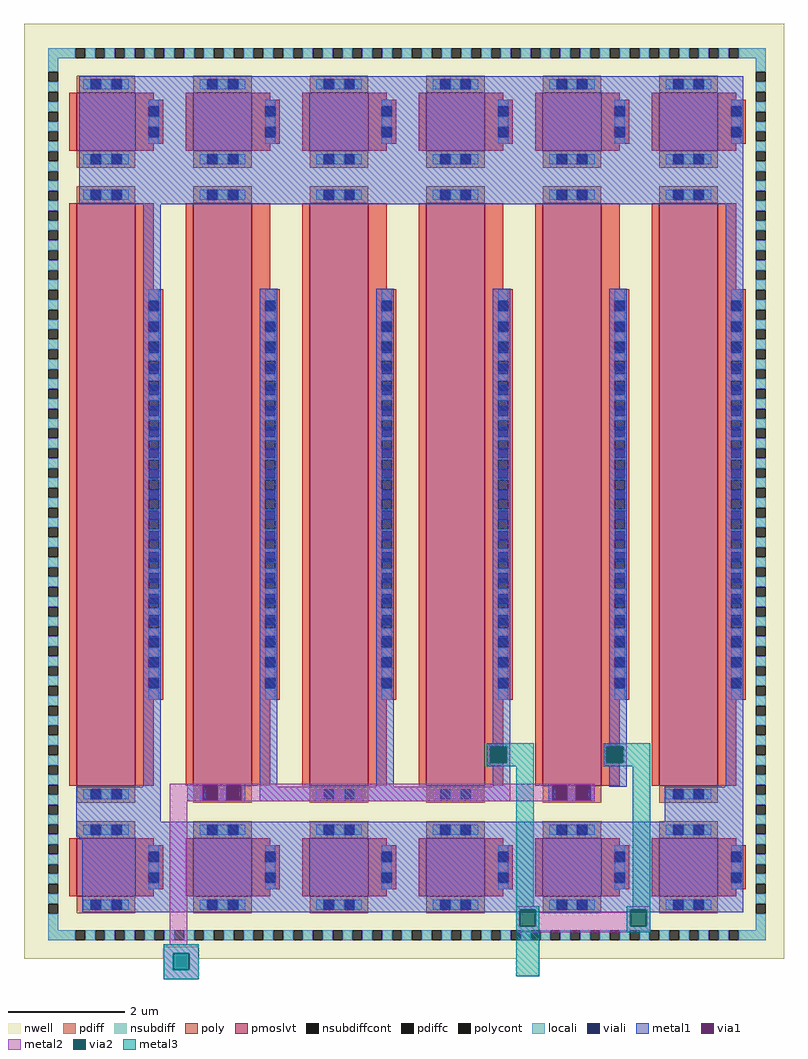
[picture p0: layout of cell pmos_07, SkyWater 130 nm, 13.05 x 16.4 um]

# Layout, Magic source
magic
tech sky130A
magscale 1 2
<< nwell >>
rect -80 -460 2530 2710
rect -80 -500 400 -460
rect 520 -500 2530 -460
rect 1610 -560 1690 -500
<< nsubdiff >>
rect 3 2593 96 2627
rect 130 2593 164 2627
rect 198 2593 232 2627
rect 266 2593 300 2627
rect 334 2593 368 2627
rect 402 2593 436 2627
rect 470 2593 504 2627
rect 538 2593 572 2627
rect 606 2593 640 2627
rect 674 2593 708 2627
rect 742 2593 776 2627
rect 810 2593 844 2627
rect 878 2593 912 2627
rect 946 2593 980 2627
rect 1014 2593 1048 2627
rect 1082 2593 1116 2627
rect 1150 2593 1184 2627
rect 1218 2593 1252 2627
rect 1286 2593 1320 2627
rect 1354 2593 1388 2627
rect 1422 2593 1456 2627
rect 1490 2593 1524 2627
rect 1558 2593 1592 2627
rect 1626 2593 1660 2627
rect 1694 2593 1728 2627
rect 1762 2593 1796 2627
rect 1830 2593 1864 2627
rect 1898 2593 1932 2627
rect 1966 2593 2000 2627
rect 2034 2593 2068 2627
rect 2102 2593 2136 2627
rect 2170 2593 2204 2627
rect 2238 2593 2272 2627
rect 2306 2593 2340 2627
rect 2374 2593 2467 2627
rect 3 2545 37 2593
rect 3 2477 37 2511
rect 3 2409 37 2443
rect 3 2341 37 2375
rect 3 2273 37 2307
rect 3 2205 37 2239
rect 3 2137 37 2171
rect 3 2069 37 2103
rect 3 2001 37 2035
rect 3 1933 37 1967
rect 3 1865 37 1899
rect 3 1797 37 1831
rect 3 1729 37 1763
rect 3 1661 37 1695
rect 3 1593 37 1627
rect 3 1525 37 1559
rect 3 1457 37 1491
rect 3 1389 37 1423
rect 3 1321 37 1355
rect 3 1253 37 1287
rect 3 1185 37 1219
rect 3 1117 37 1151
rect 3 1049 37 1083
rect 3 981 37 1015
rect 3 913 37 947
rect 3 845 37 879
rect 3 777 37 811
rect 3 709 37 743
rect 3 641 37 675
rect 3 573 37 607
rect 3 505 37 539
rect 3 437 37 471
rect 3 369 37 403
rect 3 301 37 335
rect 3 233 37 267
rect 3 165 37 199
rect 3 97 37 131
rect 3 29 37 63
rect 3 -39 37 -5
rect 3 -107 37 -73
rect 3 -175 37 -141
rect 3 -243 37 -209
rect 3 -311 37 -277
rect 3 -403 37 -345
rect 2433 2545 2467 2593
rect 2433 2477 2467 2511
rect 2433 2409 2467 2443
rect 2433 2341 2467 2375
rect 2433 2273 2467 2307
rect 2433 2205 2467 2239
rect 2433 2137 2467 2171
rect 2433 2069 2467 2103
rect 2433 2001 2467 2035
rect 2433 1933 2467 1967
rect 2433 1865 2467 1899
rect 2433 1797 2467 1831
rect 2433 1729 2467 1763
rect 2433 1661 2467 1695
rect 2433 1593 2467 1627
rect 2433 1525 2467 1559
rect 2433 1457 2467 1491
rect 2433 1389 2467 1423
rect 2433 1321 2467 1355
rect 2433 1253 2467 1287
rect 2433 1185 2467 1219
rect 2433 1117 2467 1151
rect 2433 1049 2467 1083
rect 2433 981 2467 1015
rect 2433 913 2467 947
rect 2433 845 2467 879
rect 2433 777 2467 811
rect 2433 709 2467 743
rect 2433 641 2467 675
rect 2433 573 2467 607
rect 2433 505 2467 539
rect 2433 437 2467 471
rect 2433 369 2467 403
rect 2433 301 2467 335
rect 2433 233 2467 267
rect 2433 165 2467 199
rect 2433 97 2467 131
rect 2433 29 2467 63
rect 2433 -39 2467 -5
rect 2433 -107 2467 -73
rect 2433 -175 2467 -141
rect 2433 -243 2467 -209
rect 2433 -311 2467 -277
rect 2433 -403 2467 -345
rect 3 -437 96 -403
rect 130 -437 164 -403
rect 198 -437 232 -403
rect 266 -437 300 -403
rect 334 -437 368 -403
rect 402 -437 436 -403
rect 470 -437 504 -403
rect 538 -437 572 -403
rect 606 -437 640 -403
rect 674 -437 708 -403
rect 742 -437 776 -403
rect 810 -437 844 -403
rect 878 -437 912 -403
rect 946 -437 980 -403
rect 1014 -437 1048 -403
rect 1082 -437 1116 -403
rect 1150 -437 1184 -403
rect 1218 -437 1252 -403
rect 1286 -437 1320 -403
rect 1354 -437 1388 -403
rect 1422 -437 1456 -403
rect 1490 -437 1524 -403
rect 1558 -437 1592 -403
rect 1626 -437 1660 -403
rect 1694 -437 1728 -403
rect 1762 -437 1796 -403
rect 1830 -437 1864 -403
rect 1898 -437 1932 -403
rect 1966 -437 2000 -403
rect 2034 -437 2068 -403
rect 2102 -437 2136 -403
rect 2170 -437 2204 -403
rect 2238 -437 2272 -403
rect 2306 -437 2340 -403
rect 2374 -437 2467 -403
<< nsubdiffcont >>
rect 96 2593 130 2627
rect 164 2593 198 2627
rect 232 2593 266 2627
rect 300 2593 334 2627
rect 368 2593 402 2627
rect 436 2593 470 2627
rect 504 2593 538 2627
rect 572 2593 606 2627
rect 640 2593 674 2627
rect 708 2593 742 2627
rect 776 2593 810 2627
rect 844 2593 878 2627
rect 912 2593 946 2627
rect 980 2593 1014 2627
rect 1048 2593 1082 2627
rect 1116 2593 1150 2627
rect 1184 2593 1218 2627
rect 1252 2593 1286 2627
rect 1320 2593 1354 2627
rect 1388 2593 1422 2627
rect 1456 2593 1490 2627
rect 1524 2593 1558 2627
rect 1592 2593 1626 2627
rect 1660 2593 1694 2627
rect 1728 2593 1762 2627
rect 1796 2593 1830 2627
rect 1864 2593 1898 2627
rect 1932 2593 1966 2627
rect 2000 2593 2034 2627
rect 2068 2593 2102 2627
rect 2136 2593 2170 2627
rect 2204 2593 2238 2627
rect 2272 2593 2306 2627
rect 2340 2593 2374 2627
rect 3 2511 37 2545
rect 3 2443 37 2477
rect 3 2375 37 2409
rect 3 2307 37 2341
rect 3 2239 37 2273
rect 3 2171 37 2205
rect 3 2103 37 2137
rect 3 2035 37 2069
rect 3 1967 37 2001
rect 3 1899 37 1933
rect 3 1831 37 1865
rect 3 1763 37 1797
rect 3 1695 37 1729
rect 3 1627 37 1661
rect 3 1559 37 1593
rect 3 1491 37 1525
rect 3 1423 37 1457
rect 3 1355 37 1389
rect 3 1287 37 1321
rect 3 1219 37 1253
rect 3 1151 37 1185
rect 3 1083 37 1117
rect 3 1015 37 1049
rect 3 947 37 981
rect 3 879 37 913
rect 3 811 37 845
rect 3 743 37 777
rect 3 675 37 709
rect 3 607 37 641
rect 3 539 37 573
rect 3 471 37 505
rect 3 403 37 437
rect 3 335 37 369
rect 3 267 37 301
rect 3 199 37 233
rect 3 131 37 165
rect 3 63 37 97
rect 3 -5 37 29
rect 3 -73 37 -39
rect 3 -141 37 -107
rect 3 -209 37 -175
rect 3 -277 37 -243
rect 3 -345 37 -311
rect 2433 2511 2467 2545
rect 2433 2443 2467 2477
rect 2433 2375 2467 2409
rect 2433 2307 2467 2341
rect 2433 2239 2467 2273
rect 2433 2171 2467 2205
rect 2433 2103 2467 2137
rect 2433 2035 2467 2069
rect 2433 1967 2467 2001
rect 2433 1899 2467 1933
rect 2433 1831 2467 1865
rect 2433 1763 2467 1797
rect 2433 1695 2467 1729
rect 2433 1627 2467 1661
rect 2433 1559 2467 1593
rect 2433 1491 2467 1525
rect 2433 1423 2467 1457
rect 2433 1355 2467 1389
rect 2433 1287 2467 1321
rect 2433 1219 2467 1253
rect 2433 1151 2467 1185
rect 2433 1083 2467 1117
rect 2433 1015 2467 1049
rect 2433 947 2467 981
rect 2433 879 2467 913
rect 2433 811 2467 845
rect 2433 743 2467 777
rect 2433 675 2467 709
rect 2433 607 2467 641
rect 2433 539 2467 573
rect 2433 471 2467 505
rect 2433 403 2467 437
rect 2433 335 2467 369
rect 2433 267 2467 301
rect 2433 199 2467 233
rect 2433 131 2467 165
rect 2433 63 2467 97
rect 2433 -5 2467 29
rect 2433 -73 2467 -39
rect 2433 -141 2467 -107
rect 2433 -209 2467 -175
rect 2433 -277 2467 -243
rect 2433 -345 2467 -311
rect 96 -437 130 -403
rect 164 -437 198 -403
rect 232 -437 266 -403
rect 300 -437 334 -403
rect 368 -437 402 -403
rect 436 -437 470 -403
rect 504 -437 538 -403
rect 572 -437 606 -403
rect 640 -437 674 -403
rect 708 -437 742 -403
rect 776 -437 810 -403
rect 844 -437 878 -403
rect 912 -437 946 -403
rect 980 -437 1014 -403
rect 1048 -437 1082 -403
rect 1116 -437 1150 -403
rect 1184 -437 1218 -403
rect 1252 -437 1286 -403
rect 1320 -437 1354 -403
rect 1388 -437 1422 -403
rect 1456 -437 1490 -403
rect 1524 -437 1558 -403
rect 1592 -437 1626 -403
rect 1660 -437 1694 -403
rect 1728 -437 1762 -403
rect 1796 -437 1830 -403
rect 1864 -437 1898 -403
rect 1932 -437 1966 -403
rect 2000 -437 2034 -403
rect 2068 -437 2102 -403
rect 2136 -437 2170 -403
rect 2204 -437 2238 -403
rect 2272 -437 2306 -403
rect 2340 -437 2374 -403
<< locali >>
rect 3 2593 96 2627
rect 130 2593 164 2627
rect 198 2593 232 2627
rect 266 2593 300 2627
rect 334 2593 368 2627
rect 402 2593 436 2627
rect 470 2593 504 2627
rect 538 2593 572 2627
rect 606 2593 640 2627
rect 674 2593 708 2627
rect 742 2593 776 2627
rect 810 2593 844 2627
rect 878 2593 912 2627
rect 946 2593 980 2627
rect 1014 2593 1048 2627
rect 1082 2593 1116 2627
rect 1150 2593 1184 2627
rect 1218 2593 1252 2627
rect 1286 2593 1320 2627
rect 1354 2593 1388 2627
rect 1422 2593 1456 2627
rect 1490 2593 1524 2627
rect 1558 2593 1592 2627
rect 1626 2593 1660 2627
rect 1694 2593 1728 2627
rect 1762 2593 1796 2627
rect 1830 2593 1864 2627
rect 1898 2593 1932 2627
rect 1966 2593 2000 2627
rect 2034 2593 2068 2627
rect 2102 2593 2136 2627
rect 2170 2593 2204 2627
rect 2238 2593 2272 2627
rect 2306 2593 2340 2627
rect 2374 2593 2467 2627
rect 3 2545 37 2593
rect 3 2477 37 2511
rect 3 2409 37 2443
rect 3 2341 37 2375
rect 3 2273 37 2307
rect 3 2205 37 2239
rect 3 2137 37 2171
rect 3 2069 37 2103
rect 3 2001 37 2035
rect 3 1933 37 1967
rect 3 1865 37 1899
rect 3 1797 37 1831
rect 3 1729 37 1763
rect 3 1661 37 1695
rect 3 1593 37 1627
rect 3 1525 37 1559
rect 3 1457 37 1491
rect 3 1389 37 1423
rect 3 1321 37 1355
rect 3 1253 37 1287
rect 3 1185 37 1219
rect 3 1117 37 1151
rect 3 1049 37 1083
rect 3 981 37 1015
rect 3 913 37 947
rect 3 845 37 879
rect 3 777 37 811
rect 3 709 37 743
rect 3 641 37 675
rect 3 573 37 607
rect 3 505 37 539
rect 3 437 37 471
rect 3 369 37 403
rect 3 301 37 335
rect 3 233 37 267
rect 3 165 37 199
rect 3 97 37 131
rect 3 29 37 63
rect 3 -39 37 -5
rect 3 -107 37 -73
rect 3 -175 37 -141
rect 3 -243 37 -209
rect 3 -311 37 -277
rect 3 -403 37 -345
rect 2433 2545 2467 2593
rect 2433 2477 2467 2511
rect 2433 2409 2467 2443
rect 2433 2341 2467 2375
rect 2433 2273 2467 2307
rect 2433 2205 2467 2239
rect 2433 2137 2467 2171
rect 2433 2069 2467 2103
rect 2433 2001 2467 2035
rect 2433 1933 2467 1967
rect 2433 1865 2467 1899
rect 2433 1797 2467 1831
rect 2433 1729 2467 1763
rect 2433 1661 2467 1695
rect 2433 1593 2467 1627
rect 2433 1525 2467 1559
rect 2433 1457 2467 1491
rect 2433 1389 2467 1423
rect 2433 1321 2467 1355
rect 2433 1253 2467 1287
rect 2433 1185 2467 1219
rect 2433 1117 2467 1151
rect 2433 1049 2467 1083
rect 2433 981 2467 1015
rect 2433 913 2467 947
rect 2433 845 2467 879
rect 2433 777 2467 811
rect 2433 709 2467 743
rect 2433 641 2467 675
rect 2433 573 2467 607
rect 2433 505 2467 539
rect 2433 437 2467 471
rect 2433 369 2467 403
rect 2433 301 2467 335
rect 2433 233 2467 267
rect 2433 165 2467 199
rect 2433 97 2467 131
rect 2433 29 2467 63
rect 2433 -39 2467 -5
rect 2433 -107 2467 -73
rect 2433 -175 2467 -141
rect 2433 -243 2467 -209
rect 2433 -311 2467 -277
rect 2433 -403 2467 -345
rect 3 -437 96 -403
rect 130 -437 164 -403
rect 198 -437 232 -403
rect 266 -437 300 -403
rect 334 -437 368 -403
rect 402 -437 436 -403
rect 470 -437 504 -403
rect 538 -437 572 -403
rect 606 -437 640 -403
rect 674 -437 708 -403
rect 742 -437 776 -403
rect 810 -437 844 -403
rect 878 -437 912 -403
rect 946 -437 980 -403
rect 1014 -437 1048 -403
rect 1082 -437 1116 -403
rect 1150 -437 1184 -403
rect 1218 -437 1252 -403
rect 1286 -437 1320 -403
rect 1354 -437 1388 -403
rect 1422 -437 1456 -403
rect 1490 -437 1524 -403
rect 1558 -437 1592 -403
rect 1626 -437 1660 -403
rect 1694 -437 1728 -403
rect 1762 -437 1796 -403
rect 1830 -437 1864 -403
rect 1898 -437 1932 -403
rect 1966 -437 2000 -403
rect 2034 -437 2068 -403
rect 2102 -437 2136 -403
rect 2170 -437 2204 -403
rect 2238 -437 2272 -403
rect 2306 -437 2340 -403
rect 2374 -437 2467 -403
<< metal1 >>
rect 110 2090 2390 2530
rect 330 90 390 2090
rect 100 -30 390 90
rect 480 96 680 100
rect 480 44 534 96
rect 586 44 614 96
rect 666 44 680 96
rect 480 40 680 44
rect 730 90 790 1800
rect 1130 90 1190 1800
rect 1530 240 1590 1800
rect 1930 240 1990 1800
rect 1510 226 1590 240
rect 1510 174 1524 226
rect 1576 174 1590 226
rect 1510 160 1590 174
rect 1910 226 1990 240
rect 1910 174 1924 226
rect 1976 174 1990 226
rect 1910 160 1990 174
rect 1530 90 1590 160
rect 730 40 1590 90
rect 1720 96 1880 100
rect 1720 44 1734 96
rect 1786 44 1814 96
rect 1866 44 1880 96
rect 1930 90 1990 160
rect 2330 90 2390 2090
rect 1720 40 1880 44
rect 2120 -30 2390 90
rect 100 -80 2390 -30
rect 110 -90 2390 -80
rect 120 -340 2390 -90
<< via1 >>
rect 534 44 586 96
rect 614 44 666 96
rect 1524 174 1576 226
rect 1924 174 1976 226
rect 1734 44 1786 96
rect 1814 44 1866 96
<< metal2 >>
rect 1510 228 1590 240
rect 1510 172 1522 228
rect 1578 172 1590 228
rect 1510 160 1590 172
rect 1910 228 1990 240
rect 1910 172 1922 228
rect 1978 172 1990 228
rect 1910 160 1990 172
rect 420 96 1880 100
rect 420 44 534 96
rect 586 44 614 96
rect 666 44 1734 96
rect 1786 44 1814 96
rect 1866 44 1880 96
rect 420 40 1880 44
rect 420 -450 480 40
rect 1610 -332 1690 -320
rect 1610 -388 1622 -332
rect 1678 -340 1690 -332
rect 1990 -332 2070 -320
rect 1990 -340 2002 -332
rect 1678 -388 2002 -340
rect 2058 -388 2070 -332
rect 1610 -410 2070 -388
rect 400 -482 520 -450
rect 400 -538 432 -482
rect 488 -538 520 -482
rect 400 -570 520 -538
<< via2 >>
rect 1522 226 1578 228
rect 1522 174 1524 226
rect 1524 174 1576 226
rect 1576 174 1578 226
rect 1522 172 1578 174
rect 1922 226 1978 228
rect 1922 174 1924 226
rect 1924 174 1976 226
rect 1976 174 1978 226
rect 1922 172 1978 174
rect 1622 -388 1678 -332
rect 2002 -388 2058 -332
rect 432 -538 488 -482
<< metal3 >>
rect 1510 228 1670 240
rect 1510 172 1522 228
rect 1578 172 1670 228
rect 1510 160 1670 172
rect 1910 228 2070 240
rect 1910 172 1922 228
rect 1978 172 2070 228
rect 1910 160 2070 172
rect 1610 -320 1670 160
rect 2010 -320 2070 160
rect 1610 -332 1690 -320
rect 1610 -388 1622 -332
rect 1678 -388 1690 -332
rect 400 -482 520 -450
rect 400 -538 432 -482
rect 488 -538 520 -482
rect 400 -570 520 -538
rect 1610 -560 1690 -388
rect 1990 -332 2070 -320
rect 1990 -388 2002 -332
rect 2058 -388 2070 -332
rect 1990 -410 2070 -388
use sky130_fd_pr__pfet_01v8_lvt_76U4T2  sky130_fd_pr__pfet_01v8_lvt_76U4T2_0
transform 0 1 2238 -1 0 1094
box -1094 -198 1094 164
use sky130_fd_pr__pfet_01v8_lvt_76U4T2  sky130_fd_pr__pfet_01v8_lvt_76U4T2_1
transform 0 1 1838 -1 0 1094
box -1094 -198 1094 164
use sky130_fd_pr__pfet_01v8_lvt_76U4T2  sky130_fd_pr__pfet_01v8_lvt_76U4T2_2
transform 0 1 638 -1 0 1094
box -1094 -198 1094 164
use sky130_fd_pr__pfet_01v8_lvt_76U4T2  sky130_fd_pr__pfet_01v8_lvt_76U4T2_4
transform 0 1 1038 -1 0 1094
box -1094 -198 1094 164
use sky130_fd_pr__pfet_01v8_lvt_76U4T2  sky130_fd_pr__pfet_01v8_lvt_76U4T2_5
transform 0 1 1438 -1 0 1094
box -1094 -198 1094 164
use sky130_fd_pr__pfet_01v8_lvt_76U4T2  sky130_fd_pr__pfet_01v8_lvt_76U4T2_6
transform 0 1 238 -1 0 1094
box -1094 -198 1094 164
use sky130_fd_pr__pfet_01v8_lvt_KVZWZ9  sky130_fd_pr__pfet_01v8_lvt_KVZWZ9_0
transform 0 1 1438 -1 0 -186
box -194 -198 194 164
use sky130_fd_pr__pfet_01v8_lvt_KVZWZ9  sky130_fd_pr__pfet_01v8_lvt_KVZWZ9_1
transform 0 1 1038 -1 0 -186
box -194 -198 194 164
use sky130_fd_pr__pfet_01v8_lvt_KVZWZ9  sky130_fd_pr__pfet_01v8_lvt_KVZWZ9_2
transform 0 1 638 -1 0 -186
box -194 -198 194 164
use sky130_fd_pr__pfet_01v8_lvt_KVZWZ9  sky130_fd_pr__pfet_01v8_lvt_KVZWZ9_3
transform 0 1 238 -1 0 -186
box -194 -198 194 164
use sky130_fd_pr__pfet_01v8_lvt_KVZWZ9  sky130_fd_pr__pfet_01v8_lvt_KVZWZ9_4
transform 0 1 1838 -1 0 -186
box -194 -198 194 164
use sky130_fd_pr__pfet_01v8_lvt_KVZWZ9  sky130_fd_pr__pfet_01v8_lvt_KVZWZ9_5
transform 0 1 2238 -1 0 -186
box -194 -198 194 164
use sky130_fd_pr__pfet_01v8_lvt_KVZWZ9  sky130_fd_pr__pfet_01v8_lvt_KVZWZ9_6
transform 0 1 238 -1 0 2374
box -194 -198 194 164
use sky130_fd_pr__pfet_01v8_lvt_KVZWZ9  sky130_fd_pr__pfet_01v8_lvt_KVZWZ9_7
transform 0 1 638 -1 0 2374
box -194 -198 194 164
use sky130_fd_pr__pfet_01v8_lvt_KVZWZ9  sky130_fd_pr__pfet_01v8_lvt_KVZWZ9_8
transform 0 1 1038 -1 0 2374
box -194 -198 194 164
use sky130_fd_pr__pfet_01v8_lvt_KVZWZ9  sky130_fd_pr__pfet_01v8_lvt_KVZWZ9_9
transform 0 1 1438 -1 0 2374
box -194 -198 194 164
use sky130_fd_pr__pfet_01v8_lvt_KVZWZ9  sky130_fd_pr__pfet_01v8_lvt_KVZWZ9_10
transform 0 1 1838 -1 0 2374
box -194 -198 194 164
use sky130_fd_pr__pfet_01v8_lvt_KVZWZ9  sky130_fd_pr__pfet_01v8_lvt_KVZWZ9_11
transform 0 1 2238 -1 0 2374
box -194 -198 194 164
<< end >>

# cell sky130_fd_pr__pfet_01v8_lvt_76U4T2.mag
magic
tech sky130A
magscale 1 2
<< nwell >>
rect -1094 -198 1094 164
<< pmoslvt >>
rect -1000 -136 1000 64
<< pdiff >>
rect -1058 15 -1000 64
rect -1058 -19 -1046 15
rect -1012 -19 -1000 15
rect -1058 -53 -1000 -19
rect -1058 -87 -1046 -53
rect -1012 -87 -1000 -53
rect -1058 -136 -1000 -87
rect 1000 15 1058 64
rect 1000 -19 1012 15
rect 1046 -19 1058 15
rect 1000 -53 1058 -19
rect 1000 -87 1012 -53
rect 1046 -87 1058 -53
rect 1000 -136 1058 -87
<< pdiffc >>
rect -1046 -19 -1012 15
rect -1046 -87 -1012 -53
rect 1012 -19 1046 15
rect 1012 -87 1046 -53
<< poly >>
rect -705 145 705 161
rect -705 128 -663 145
rect -1000 111 -663 128
rect -629 111 -595 145
rect -561 111 -527 145
rect -493 111 -459 145
rect -425 111 -391 145
rect -357 111 -323 145
rect -289 111 -255 145
rect -221 111 -187 145
rect -153 111 -119 145
rect -85 111 -51 145
rect -17 111 17 145
rect 51 111 85 145
rect 119 111 153 145
rect 187 111 221 145
rect 255 111 289 145
rect 323 111 357 145
rect 391 111 425 145
rect 459 111 493 145
rect 527 111 561 145
rect 595 111 629 145
rect 663 128 705 145
rect 663 111 1000 128
rect -1000 64 1000 111
rect -1000 -162 1000 -136
<< polycont >>
rect -663 111 -629 145
rect -595 111 -561 145
rect -527 111 -493 145
rect -459 111 -425 145
rect -391 111 -357 145
rect -323 111 -289 145
rect -255 111 -221 145
rect -187 111 -153 145
rect -119 111 -85 145
rect -51 111 -17 145
rect 17 111 51 145
rect 85 111 119 145
rect 153 111 187 145
rect 221 111 255 145
rect 289 111 323 145
rect 357 111 391 145
rect 425 111 459 145
rect 493 111 527 145
rect 561 111 595 145
rect 629 111 663 145
<< locali >>
rect -705 111 -665 145
rect -629 111 -595 145
rect -559 111 -527 145
rect -487 111 -459 145
rect -415 111 -391 145
rect -343 111 -323 145
rect -271 111 -255 145
rect -199 111 -187 145
rect -127 111 -119 145
rect -55 111 -51 145
rect 51 111 55 145
rect 119 111 127 145
rect 187 111 199 145
rect 255 111 271 145
rect 323 111 343 145
rect 391 111 415 145
rect 459 111 487 145
rect 527 111 559 145
rect 595 111 629 145
rect 665 111 705 145
rect -1046 17 -1012 42
rect -1046 -53 -1012 -19
rect -1046 -114 -1012 -89
rect 1012 17 1046 42
rect 1012 -53 1046 -19
rect 1012 -114 1046 -89
<< viali >>
rect -665 111 -663 145
rect -663 111 -631 145
rect -593 111 -561 145
rect -561 111 -559 145
rect -521 111 -493 145
rect -493 111 -487 145
rect -449 111 -425 145
rect -425 111 -415 145
rect -377 111 -357 145
rect -357 111 -343 145
rect -305 111 -289 145
rect -289 111 -271 145
rect -233 111 -221 145
rect -221 111 -199 145
rect -161 111 -153 145
rect -153 111 -127 145
rect -89 111 -85 145
rect -85 111 -55 145
rect -17 111 17 145
rect 55 111 85 145
rect 85 111 89 145
rect 127 111 153 145
rect 153 111 161 145
rect 199 111 221 145
rect 221 111 233 145
rect 271 111 289 145
rect 289 111 305 145
rect 343 111 357 145
rect 357 111 377 145
rect 415 111 425 145
rect 425 111 449 145
rect 487 111 493 145
rect 493 111 521 145
rect 559 111 561 145
rect 561 111 593 145
rect 631 111 663 145
rect 663 111 665 145
rect -1046 15 -1012 17
rect -1046 -17 -1012 15
rect -1046 -87 -1012 -55
rect -1046 -89 -1012 -87
rect 1012 15 1046 17
rect 1012 -17 1046 15
rect 1012 -87 1046 -55
rect 1012 -89 1046 -87
<< metal1 >>
rect -701 145 701 151
rect -701 111 -665 145
rect -631 111 -593 145
rect -559 111 -521 145
rect -487 111 -449 145
rect -415 111 -377 145
rect -343 111 -305 145
rect -271 111 -233 145
rect -199 111 -161 145
rect -127 111 -89 145
rect -55 111 -17 145
rect 17 111 55 145
rect 89 111 127 145
rect 161 111 199 145
rect 233 111 271 145
rect 305 111 343 145
rect 377 111 415 145
rect 449 111 487 145
rect 521 111 559 145
rect 593 111 631 145
rect 665 111 701 145
rect -701 105 701 111
rect -1052 17 -1006 38
rect -1052 -17 -1046 17
rect -1012 -17 -1006 17
rect -1052 -55 -1006 -17
rect -1052 -89 -1046 -55
rect -1012 -89 -1006 -55
rect -1052 -110 -1006 -89
rect 1006 17 1052 38
rect 1006 -17 1012 17
rect 1046 -17 1052 17
rect 1006 -55 1052 -17
rect 1006 -89 1012 -55
rect 1046 -89 1052 -55
rect 1006 -110 1052 -89
<< end >>

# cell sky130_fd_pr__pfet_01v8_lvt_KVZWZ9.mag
magic
tech sky130A
magscale 1 2
<< nwell >>
rect -194 -198 194 164
<< pmoslvt >>
rect -100 -136 100 64
<< pdiff >>
rect -158 15 -100 64
rect -158 -19 -146 15
rect -112 -19 -100 15
rect -158 -53 -100 -19
rect -158 -87 -146 -53
rect -112 -87 -100 -53
rect -158 -136 -100 -87
rect 100 15 158 64
rect 100 -19 112 15
rect 146 -19 158 15
rect 100 -53 158 -19
rect 100 -87 112 -53
rect 146 -87 158 -53
rect 100 -136 158 -87
<< pdiffc >>
rect -146 -19 -112 15
rect -146 -87 -112 -53
rect 112 -19 146 15
rect 112 -87 146 -53
<< poly >>
rect -75 145 75 161
rect -75 128 -51 145
rect -100 111 -51 128
rect -17 111 17 145
rect 51 128 75 145
rect 51 111 100 128
rect -100 64 100 111
rect -100 -162 100 -136
<< polycont >>
rect -51 111 -17 145
rect 17 111 51 145
<< locali >>
rect -75 111 -53 145
rect -17 111 17 145
rect 53 111 75 145
rect -146 17 -112 42
rect -146 -53 -112 -19
rect -146 -114 -112 -89
rect 112 17 146 42
rect 112 -53 146 -19
rect 112 -114 146 -89
<< viali >>
rect -53 111 -51 145
rect -51 111 -19 145
rect 19 111 51 145
rect 51 111 53 145
rect -146 15 -112 17
rect -146 -17 -112 15
rect -146 -87 -112 -55
rect -146 -89 -112 -87
rect 112 15 146 17
rect 112 -17 146 15
rect 112 -87 146 -55
rect 112 -89 146 -87
<< metal1 >>
rect -71 145 71 151
rect -71 111 -53 145
rect -19 111 19 145
rect 53 111 71 145
rect -71 105 71 111
rect -152 17 -106 38
rect -152 -17 -146 17
rect -112 -17 -106 17
rect -152 -55 -106 -17
rect -152 -89 -146 -55
rect -112 -89 -106 -55
rect -152 -110 -106 -89
rect 106 17 152 38
rect 106 -17 112 17
rect 146 -17 152 17
rect 106 -55 152 -17
rect 106 -89 112 -55
rect 146 -89 152 -55
rect 106 -110 152 -89
<< end >>
